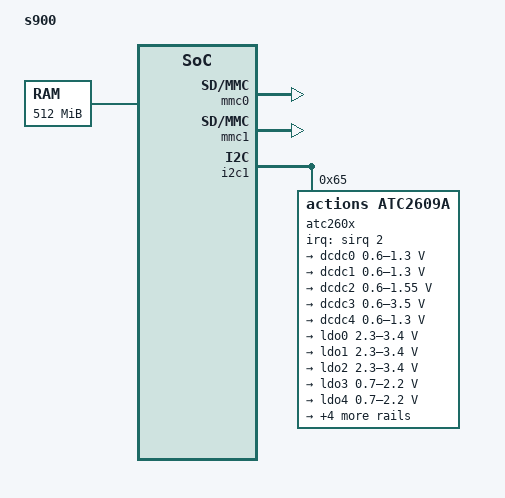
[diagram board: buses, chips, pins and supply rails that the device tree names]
/*
 * Copyright (C) 2014 Actions Semi. Inc
 *
 * This program is free software; you can redistribute it and/or
 * modify it under the terms of the GNU General Public License as
 * published by the Free Software Foundation version 2.
 *
 * This program is distributed "as is" WITHOUT ANY WARRANTY of any
 * kind, whether express or implied; without even the implied warranty
 * of MERCHANTABILITY or FITNESS FOR A PARTICULAR PURPOSE.  See the
 * GNU General Public License for more details.
 */

/dts-v1/;

/* reserve 48MB for logo(fb) */
/memreserve/ 0x19000000 0x03000000;

/* reserve 48MB for ion0(fb) */
/memreserve/ 0x1C000000 0x03000000;

/* reserve 32MB for ion1(pmem) */
/memreserve/ 0x20000000 0x02000000;

/* reserve 4k for afinfo */
/memreserve/ 0x18FFF000 0x1000;

#include "s900.dtsi"

/ {
	model = "s900";
	compatible = "actions,s900";

	chosen {
		bootargs="console=ttyS5,115200 earlyprintk=serial-owl,0xe012a000 no_console_suspend bootmode=upgrade";
	};

	memory@00000000 {
		device_type = "memory";
		reg = <0 0x00000000 0 0x20000000>;
	};

	ion_config {
		compatible = "actions,s900-ion";
		actions,ion_heap_fb_base = <0x1c000000>;
		actions,ion_heap_fb_size = <0x03000000>;
		actions,ion_heap_pmem_base = <0x20000000>;
		actions,ion_heap_pmem_size = <0x02000000>;
	};

	mmc0: mmc@e0338000 {
		card-type = "emmc";
		status = "okay";
	};

	mmc1: mmc@e033c000 {
		card-type = "emmc";
		status = "okay";
	};

	mmc2: mmc@e0334000 {
		status = "disable";
	};

	mmc3: mmc@e0330000 {
		card-type = "memory";
		status = "disable";
	};

	i2c1: i2c@e0172000 {
		status = "okay";
		atc260x: atc2609a@65 {
			compatible = "actions,atc2609a","actions,atc260x";
			reg = <0x65>;
			interrupt-parent = <&sirq>;
			interrupts = <2>;
			interrupt-controller;
			#interrupt-cells = <1>;

			losc_32k_output_enable = <1>;    /* enable/disable output 32.768K clock via AUXIN1 pin */

			pm {
				compatible = "actions,atc2609a-pm";
			};

			onoff {
				compatible = "actions,atc2609a-onoff";
			};

			rtc{
				compatible = "actions,atc2609a-rtc";
			};

			atc260x_gpio{
				compatible = "actions,atc2609a-gpio";
			};

			atc260x-charger{
				compatible = "actions,atc2609a-charger";
				no_bat_solution = <1>; /*1:NO_BAT_SOLUTION; 0:BAT_SOLUTION*/
			};

			/* DCDC0       VDD_CORE
			 * DCDC1       VDD_CPU
			 * DCDC2       VDDR
			 * DCDC3       VCC
			 * DCDC4       VDD_CPUM
			 */
			dcdc0: dcdc0 {
				compatible = "actions,atc2609a-dcdc0","actions,atc2609a-dcdc";
				regulator-name = "dcdc0";
				regulator-min-microvolt = <600000>;
				regulator-max-microvolt = <1300000>;
				regulator-always-on;
			};

			dcdc1: dcdc1 {
				compatible = "actions,atc2609a-dcdc1","actions,atc2609a-dcdc";
				regulator-name = "dcdc1";
				regulator-min-microvolt = <600000>;
				regulator-max-microvolt = <1300000>;
				regulator-always-on;
			};

			dcdc2: dcdc2 {
				compatible = "actions,atc2609a-dcdc2","actions,atc2609a-dcdc";
				regulator-name = "dcdc2";
				regulator-min-microvolt = <600000>;
				regulator-max-microvolt = <1550000>;
				regulator-always-on;
			};

			dcdc3: dcdc3 {
				compatible = "actions,atc2609a-dcdc3","actions,atc2609a-dcdc";
				regulator-name = "dcdc3";
				regulator-min-microvolt = <600000>;
				regulator-max-microvolt = <3500000>;
				regulator-always-on;
			};

			dcdc4: dcdc4 {
				compatible = "actions,atc2609a-dcdc4","actions,atc2609a-dcdc";
				regulator-name = "dcdc4";
				regulator-min-microvolt = <600000>;
				regulator-max-microvolt = <1300000>;
				regulator-always-on;
			};

			/* LDO0        SD_VCC
			 * LDO1        SENS_AVDD
			 * LDO2        AVCC
			 * LDO3        ATC2609_VDD
			 * LDO4        AVCC_1V8
			 * LDO6        AVDD_1V0
			 * LDO7        SENS_DVDD
			 * LDO8        TP_VCC
			 * LDO9        RTC_VDD     */

			ldo0: ldo0{
				compatible = "actions,atc2609a-ldo0","actions,atc2609a-ldo";
				regulator-name = "ldo0";
				regulator-min-microvolt  = <2300000>;
				regulator-max-microvolt = <3400000>;
				regulator-always-on;
			};

			ldo1: ldo1{
				compatible = "actions,atc2609a-ldo1","actions,atc2609a-ldo";
				regulator-name = "ldo1";
				regulator-min-microvolt  = <2300000>;
				regulator-max-microvolt = <3400000>;
			};

			ldo2: ldo2{
				compatible = "actions,atc2609a-ldo2","actions,atc2609a-ldo";
				regulator-name = "ldo2";
				regulator-min-microvolt  = <2300000>;
				regulator-max-microvolt = <3400000>;
				regulator-always-on;
			};

			ldo3: ldo3{
				compatible = "actions,atc2609a-ldo3","actions,atc2609a-ldo";
				regulator-name = "ldo3";
				regulator-min-microvolt  = <700000>;
				regulator-max-microvolt = <2200000>;
				regulator-always-on;
			};

			ldo4: ldo4{
				compatible = "actions,atc2609a-ldo4","actions,atc2609a-ldo";
				regulator-name = "ldo4";
				regulator-min-microvolt  = <700000>;
				regulator-max-microvolt = <2200000>;
				regulator-always-on;
			};

			ldo6: ldo6{
				compatible = "actions,atc2609a-ldo6","actions,atc2609a-ldo";
				regulator-name = "ldo6";
				regulator-min-microvolt  = <850000>;
				regulator-max-microvolt = <2200000>;
				regulator-always-on;
			};

			ldo7: ldo7{
				compatible = "actions,atc2609a-ldo7","actions,atc2609a-ldo";
				regulator-name = "ldo7";
				regulator-min-microvolt  = <700000>;
				regulator-max-microvolt = <2200000>;
			};

			ldo8: ldo8{
				compatible = "actions,atc2609a-ldo8","actions,atc2609a-ldo";
				regulator-name = "ldo8";
				regulator-min-microvolt  = <2100000>;
				regulator-max-microvolt = <3300000>;
			};

			ldo9: ldo9{
				compatible = "actions,atc2609a-ldo9","actions,atc2609a-ldo";
				regulator-name = "ldo9";
				regulator-min-microvolt  = <2600000>;
				regulator-max-microvolt = <3300000>;
				regulator-always-on;
			};
		};
	};

	de@e02e0000 {
		status = "disabled";
	};
};
